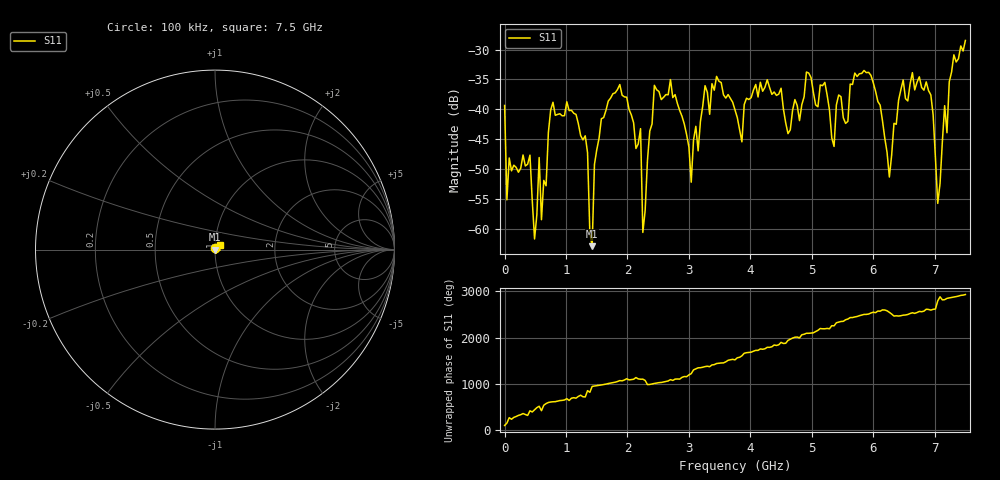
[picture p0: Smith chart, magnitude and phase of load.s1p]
# Hz S RI R 50.000000
! FREQ  re:S1  1  im:S1  1
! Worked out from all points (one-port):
!   201 points, 100 kHz to 7.5 GHz, reference 50 ohm
!   lowest |S11| = -62.8 dB at 1.425 GHz (marker M1), VSWR 1.00, Z = 50 - j0.0522 ohm
!   |S11| at or under -10 dB: start of sweep to end of sweep
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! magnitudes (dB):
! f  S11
! 100 kHz  -39.3
! 37.6 MHz  -55.1
! 412.6 MHz  -47.6
! 487.6 MHz  -61.6
! 562.6 MHz  -48.0
! 600.1 MHz  -58.4
! 750.1 MHz  -40.1
! 937.6 MHz  -41.1
! 1.313 GHz  -44.4
! 1.425 GHz  -62.8
! 1.575 GHz  -41.6
! 1.875 GHz  -35.8
! 2.213 GHz  -43.2
! 2.25 GHz  -60.5
! 2.438 GHz  -36.0
! 2.85 GHz  -40.2
! 3.038 GHz  -52.1
! 3.263 GHz  -36.0
! 3.75 GHz  -40.1
! 4.688 GHz  -40.1
! 5.625 GHz  -35.8
! 5.963 GHz  -34.3
! 6.263 GHz  -51.3
! 6.6 GHz  -35.7
! 6.938 GHz  -37.6
! 7.05 GHz  -55.7
! 7.163 GHz  -39.4
! 7.5 GHz  -28.5
